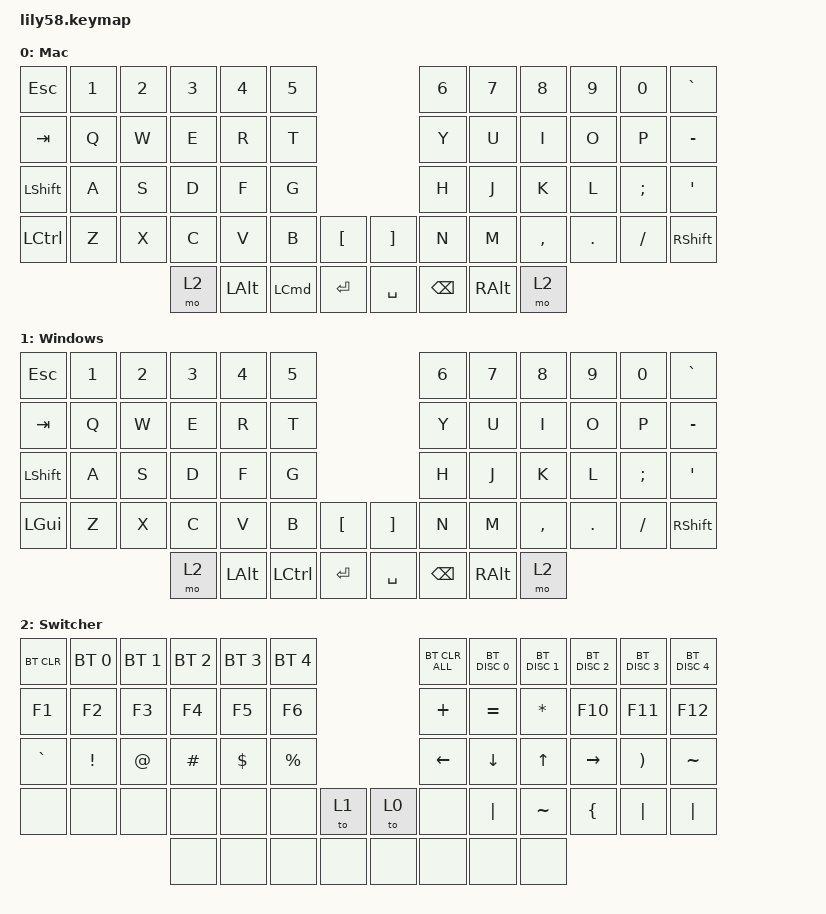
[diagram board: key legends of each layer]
/*
 * Copyright (c) 2020 The ZMK Contributors
 *
 * SPDX-License-Identifier: MIT
 */

#include <behaviors.dtsi>
#include <dt-bindings/zmk/bt.h>
#include <dt-bindings/zmk/keys.h>

/ {
    // Activate ADJUST layer by pressing raise and lower

    conditional_layers {
        compatible = "zmk,conditional-layers";

        adjust_layer {
            if-layers = <3 3>;
            then-layer = <3>;
        };
    };

    keymap {
        compatible = "zmk,keymap";

        mac {
            // ------------------------------------------------------------------------------------------------------------
            // |  ESC  |  1  |  2  |  3   |  4   |  5   |                   |  6   |  7    |  8    |  9   |   0   |   `   |
            // |  TAB  |  Q  |  W  |  E   |  R   |  T   |                   |  Y   |  U    |  I    |  O   |   P   |   -   |
            // |  CTRL |  A  |  S  |  D   |  F   |  G   |                   |  H   |  J    |  K    |  L   |   ;   |   '   |
            // | SHIFT |  Z  |  X  |  C   |  V   |  B   |  MUTE  |  |RGB_TOG|  N   |  M    |  ,    |  .   |   /   | SHIFT |
            //                     | ALT  | GUI  | LOWER|  SPACE |  | ENTER | RAISE| BSPC  | GUI   |

            bindings = <
&kp ESC           &kp N1  &kp N2  &kp N3  &kp N4        &kp N5                            &kp N6         &kp N7         &kp N8     &kp N9   &kp N0    &kp GRAVE
&kp TAB           &kp Q   &kp W   &kp E   &kp R         &kp T                             &kp Y          &kp U          &kp I      &kp O    &kp P     &kp MINUS
&kp LSHIFT        &kp A   &kp S   &kp D   &kp F         &kp G                             &kp H          &kp J          &kp K      &kp L    &kp SEMI  &kp SQT
&kp LEFT_CONTROL  &kp Z   &kp X   &kp C   &kp V         &kp B     &kp LBKT     &kp RBKT   &kp N          &kp M          &kp COMMA  &kp DOT  &kp FSLH  &kp RSHFT
                                  &mo 2   &kp LEFT_ALT  &kp LCMD  &kp ENTER    &kp SPACE  &kp BACKSPACE  &kp RIGHT_ALT  &mo 2
            >;

            label = "Mac";
        };

        windows {
            bindings = <
&kp ESC       &kp N1  &kp N2  &kp N3  &kp N4        &kp N5                                    &kp N6         &kp N7         &kp N8     &kp N9   &kp N0    &kp GRAVE
&kp TAB       &kp Q   &kp W   &kp E   &kp R         &kp T                                     &kp Y          &kp U          &kp I      &kp O    &kp P     &kp MINUS
&kp LSHIFT    &kp A   &kp S   &kp D   &kp F         &kp G                                     &kp H          &kp J          &kp K      &kp L    &kp SEMI  &kp SQT
&kp LEFT_GUI  &kp Z   &kp X   &kp C   &kp V         &kp B             &kp LBKT     &kp RBKT   &kp N          &kp M          &kp COMMA  &kp DOT  &kp FSLH  &kp RSHFT
                              &mo 2   &kp LEFT_ALT  &kp LEFT_CONTROL  &kp ENTER    &kp SPACE  &kp BACKSPACE  &kp RIGHT_ALT  &mo 2
            >;

            label = "Windows";
        };

        switcher {
            // ------------------------------------------------------------------------------------------------------------
            // | BTCLR | BT1 | BT2 |  BT3 |  BT4 |  BT5 |                   |      |       |       |      |       |       |
            // |  F1   |  F2 |  F3 |  F4  |  F5  |  F6  |                   |  F7  |  F8   |  F9   |  F10 |  F11  |  F12  |
            // |   `   |  !  |  @  |  #   |  $   |  %   |                   |  ^   |  &    |  *    |  (   |   )   |   ~   |
            // |EXTPWR |     |     |      |      |      |        |  |       |      |  _    |  +    |  {   |   }   |  "|"  |
            //                     |      |      |      |        |  |       |      |       |       |

            bindings = <
&bt BT_CLR  &bt BT_SEL 0  &bt BT_SEL 1  &bt BT_SEL 2  &bt BT_SEL 3  &bt BT_SEL 4                  &bt BT_CLR_ALL  &bt BT_DISC 0   &bt BT_DISC 1  &bt BT_DISC 2    &bt BT_DISC 3  &bt BT_DISC 4
&kp F1      &kp F2        &kp F3        &kp F4        &kp F5        &kp F6                        &kp PLUS        &kp EQUAL       &kp STAR       &kp F10          &kp F11        &kp F12
&kp GRAVE   &kp EXCL      &kp AT        &kp HASH      &kp DOLLAR    &kp PRCNT                     &kp LEFT        &kp DOWN_ARROW  &kp UP_ARROW   &kp RIGHT_ARROW  &kp RPAR       &kp TILDE
&none       &none         &none         &none         &none         &none         &to 1    &to 0  &none           &kp PIPE        &kp TILDE      &kp LBRC         &kp PIPE       &kp PIPE
                                        &none         &none         &none         &none    &none  &none           &none           &none
            >;

            label = "Switcher";
        };

        extra1 { status = "reserved"; };

        extra2 { status = "reserved"; };

        extra3 { status = "reserved"; };

        extra4 { status = "reserved"; };

        extra5 { status = "reserved"; };
    };
};
